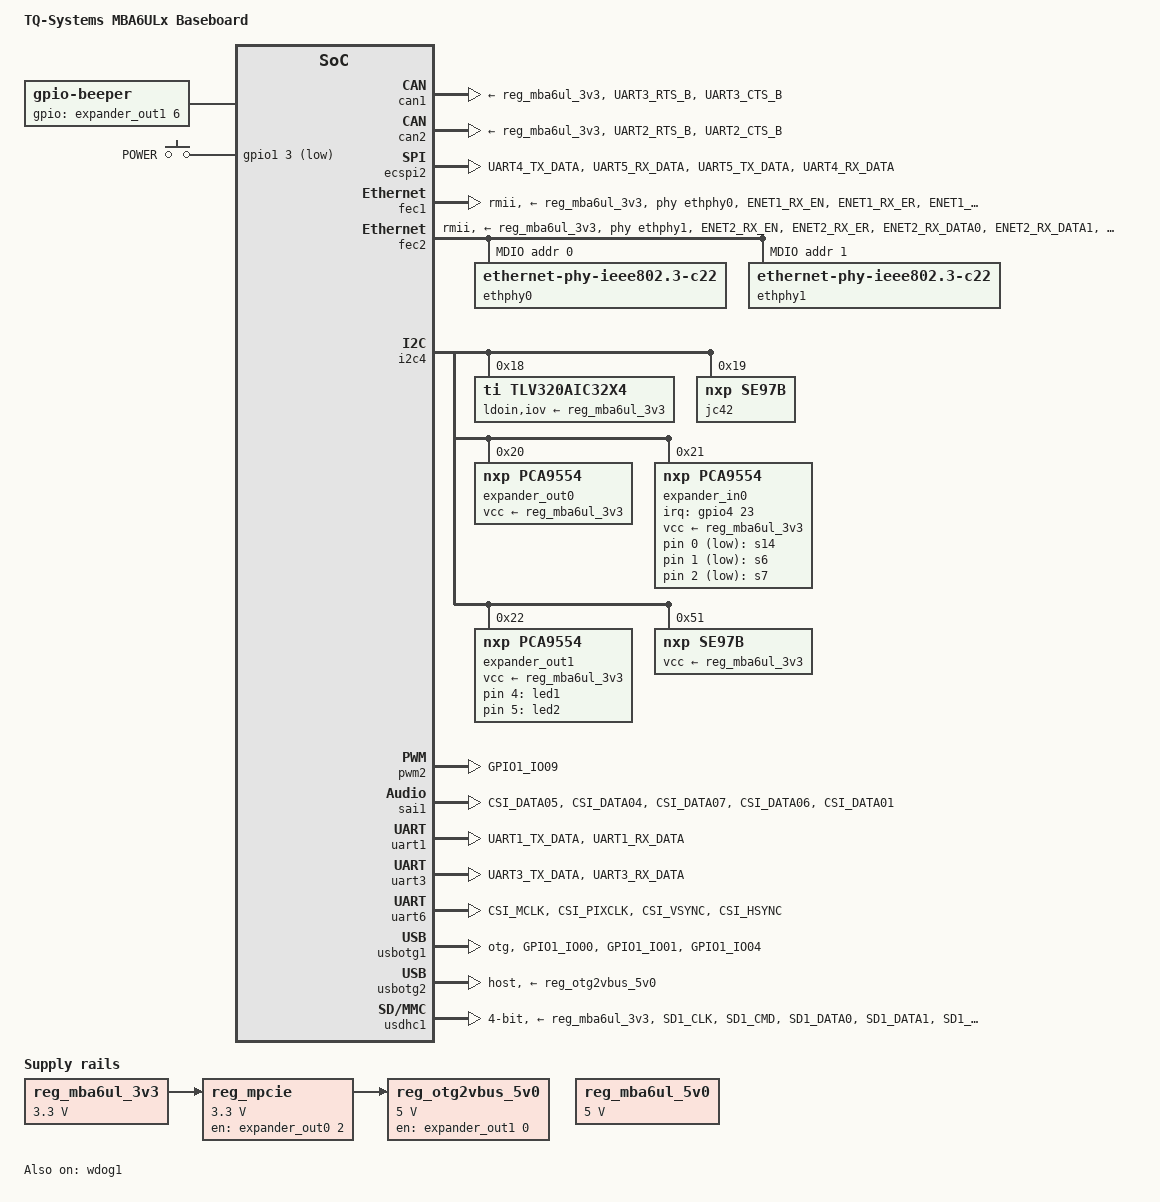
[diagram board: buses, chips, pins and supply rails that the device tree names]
// SPDX-License-Identifier: (GPL-2.0-or-later OR MIT)
/*
 * Copyright 2018-2022 TQ-Systems GmbH
 * Author: Markus Niebel <Markus.Niebel@tq-group.com>
 */

/ {
	model = "TQ-Systems MBA6ULx Baseboard";

	aliases {
		mmc0 = &usdhc2;
		mmc1 = &usdhc1;
		rtc0 = &rtc0;
		rtc1 = &snvs_rtc;
	};

	chosen {
		stdout-path = &uart1;
	};

	backlight: backlight {
		compatible = "pwm-backlight";
		power-supply = <&reg_mba6ul_3v3>;
		enable-gpios = <&expander_out0 4 GPIO_ACTIVE_HIGH>;
		status = "disabled";
	};

	beeper: beeper {
		compatible = "gpio-beeper";
		gpios = <&expander_out1 6 GPIO_ACTIVE_HIGH>;
	};

	gpio_buttons: gpio-keys {
		compatible = "gpio-keys";
		pinctrl-names = "default";
		pinctrl-0 = <&pinctrl_buttons>;

		button-1 {
			label = "s14";
			linux,code = <KEY_1>;
			gpios = <&expander_in0 0 GPIO_ACTIVE_LOW>;
			wakeup-source;
		};

		button-2 {
			label = "s6";
			linux,code = <KEY_2>;
			gpios = <&expander_in0 1 GPIO_ACTIVE_LOW>;
			wakeup-source;
		};

		button-3 {
			label = "s7";
			linux,code = <KEY_3>;
			gpios = <&expander_in0 2 GPIO_ACTIVE_LOW>;
			wakeup-source;
		};

		power-button {
			label = "POWER";
			linux,code = <KEY_POWER>;
			gpios = <&gpio1 3 GPIO_ACTIVE_LOW>;
			wakeup-source;
		};
	};

	gpio-leds {
		compatible = "gpio-leds";
		status = "okay";

		led1 {
			label = "led1";
			gpios = <&expander_out1 4 GPIO_ACTIVE_HIGH>;
			linux,default-trigger = "default-on";
		};

		led2 {
			label = "led2";
			gpios = <&expander_out1 5 GPIO_ACTIVE_HIGH>;
			linux,default-trigger = "heartbeat";
		};
	};

	reg_lcd_pwr: regulator-lcd-pwr {
		compatible = "regulator-fixed";
		regulator-name = "lcd-pwr";
		gpio = <&expander_out0 1 GPIO_ACTIVE_HIGH>;
		enable-active-high;
		status = "disabled";
	};

	reg_mba6ul_3v3: regulator-mba6ul-3v3 {
		compatible = "regulator-fixed";
		regulator-name = "supply-mba6ul-3v3";
		regulator-min-microvolt = <3300000>;
		regulator-max-microvolt = <3300000>;
		regulator-always-on;
	};

	reg_mba6ul_5v0: regulator-mba6ul-5v0 {
		compatible = "regulator-fixed";
		regulator-name = "supply-mba6ul-5v0";
		regulator-min-microvolt = <5000000>;
		regulator-max-microvolt = <5000000>;
		regulator-always-on;
	};

	reg_mpcie: regulator-mpcie-3v3 {
		compatible = "regulator-fixed";
		regulator-name = "mpcie-3v3";
		regulator-min-microvolt = <3300000>;
		regulator-max-microvolt = <3300000>;
		gpio = <&expander_out0 2 GPIO_ACTIVE_HIGH>;
		enable-active-high;
		regulator-always-on;
		startup-delay-us = <500000>;
		vin-supply = <&reg_mba6ul_3v3>;
	};

	reg_otg2vbus_5v0: regulator-otg2-vbus-5v0 {
		compatible = "regulator-fixed";
		gpio = <&expander_out1 0 GPIO_ACTIVE_HIGH>;
		enable-active-high;
		regulator-name = "otg2-vbus-supply-5v0";
		regulator-min-microvolt = <5000000>;
		regulator-max-microvolt = <5000000>;
		vin-supply = <&reg_mpcie>;
	};

	reserved-memory {
		#address-cells = <1>;
		#size-cells = <1>;
		ranges;

		linux,cma {
			compatible = "shared-dma-pool";
			reusable;
			size = <0x6000000>;
			linux,cma-default;
		};
	};

	sound {
		compatible = "fsl,imx-audio-tlv320aic32x4";
		model = "imx-audio-tlv320aic32x4";
		ssi-controller = <&sai1>;
		audio-codec = <&tlv320aic32x4>;
		audio-asrc = <&asrc>;
	};
};

&can1 {
	pinctrl-names = "default";
	pinctrl-0 = <&pinctrl_flexcan1>;
	xceiver-supply = <&reg_mba6ul_3v3>;
	status = "okay";
};

&can2 {
	pinctrl-names = "default";
	pinctrl-0 = <&pinctrl_flexcan2>;
	xceiver-supply = <&reg_mba6ul_3v3>;
	status = "okay";
};

&clks {
	assigned-clocks = <&clks IMX6UL_CLK_PLL4_AUDIO_DIV>;
	assigned-clock-rates = <768000000>;
};

&ecspi2 {
	pinctrl-names = "default";
	pinctrl-0 = <&pinctrl_ecspi2>;
	num-cs = <1>;
	status = "okay";
};

&fec1 {
	pinctrl-names = "default";
	pinctrl-0 = <&pinctrl_enet1>;
	phy-mode = "rmii";
	phy-handle = <&ethphy0>;
	phy-supply = <&reg_mba6ul_3v3>;
	phy-reset-gpios = <&expander_out1 1 GPIO_ACTIVE_LOW>;
	phy-reset-duration = <25>;
	phy-reset-post-delay = <1>;
	status = "okay";
};

&fec2 {
	pinctrl-names = "default";
	pinctrl-0 = <&pinctrl_enet2>, <&pinctrl_enet2_mdc>;
	phy-mode = "rmii";
	phy-handle = <&ethphy1>;
	phy-supply = <&reg_mba6ul_3v3>;
	phy-reset-gpios = <&expander_out1 2 GPIO_ACTIVE_LOW>;
	phy-reset-duration = <25>;
	phy-reset-post-delay = <1>;
	status = "okay";

	mdio {
		#address-cells = <1>;
		#size-cells = <0>;

		ethphy0: ethernet-phy@0 {
			compatible = "ethernet-phy-ieee802.3-c22";
			clocks = <&clks IMX6UL_CLK_ENET_REF>;
			reg = <0>;
			max-speed = <100>;
		};

		ethphy1: ethernet-phy@1 {
			compatible = "ethernet-phy-ieee802.3-c22";
			clocks = <&clks IMX6UL_CLK_ENET2_REF_125M>;
			reg = <1>;
			max-speed = <100>;
		};
	};
};

&i2c4 {
	tlv320aic32x4: audio-codec@18 {
		compatible = "ti,tlv320aic32x4";
		reg = <0x18>;
		clocks = <&clks IMX6UL_CLK_SAI1>;
		clock-names = "mclk";
		ldoin-supply = <&reg_mba6ul_3v3>;
		iov-supply = <&reg_mba6ul_3v3>;
	};

	jc42: temperature-sensor@19 {
		compatible = "nxp,se97b", "jedec,jc-42.4-temp";
		reg = <0x19>;
	};

	expander_out0: gpio-expander@20 {
		compatible = "nxp,pca9554";
		reg = <0x20>;
		gpio-controller;
		#gpio-cells = <2>;
		vcc-supply = <&reg_mba6ul_3v3>;
	};

	expander_in0: gpio-expander@21 {
		compatible = "nxp,pca9554";
		reg = <0x21>;
		pinctrl-names = "default";
		pinctrl-0 = <&pinctrl_expander_in0>;
		interrupt-parent = <&gpio4>;
		interrupts = <23 IRQ_TYPE_LEVEL_LOW>;
		interrupt-controller;
		#interrupt-cells = <2>;
		gpio-controller;
		#gpio-cells = <2>;
		vcc-supply = <&reg_mba6ul_3v3>;

		enet1_int-hog {
			gpio-hog;
			gpios = <6 0>;
			input;
		};

		enet2_int-hog {
			gpio-hog;
			gpios = <7 0>;
			input;
		};
	};

	expander_out1: gpio-expander@22 {
		compatible = "nxp,pca9554";
		reg = <0x22>;
		gpio-controller;
		#gpio-cells = <2>;
		vcc-supply = <&reg_mba6ul_3v3>;
	};

	analog_touch: touchscreen@41 {
		compatible = "st,stmpe811";
		reg = <0x41>;
		interrupts = <21 IRQ_TYPE_EDGE_FALLING>;
		interrupt-parent = <&gpio4>;
		status = "disabled";

		touchscreen {
			compatible = "st,stmpe-ts";
			st,adc-freq = <1>;      /* 3.25 MHz ADC clock speed */
			st,ave-ctrl = <3>;      /* 8 sample average control */
			st,fraction-z = <7>;    /* 7 length fractional part in z */
			/*
			 * 50 mA typical 80 mA max touchscreen drivers
			 * current limit value
			 */
			st,i-drive = <1>;
			st,mod-12b = <1>;       /* 12-bit ADC */
			st,ref-sel = <0>;       /* internal ADC reference */
			st,sample-time = <4>;   /* ADC converstion time: 80 clocks */
			st,settling = <3>;      /* 1 ms panel driver settling time */
			st,touch-det-delay = <5>; /* 5 ms touch detect interrupt delay */
		};
	};

	/* NXP SE97BTP with temperature sensor + eeprom */
	se97b: eeprom@51 {
		compatible = "nxp,se97b", "atmel,24c02";
		reg = <0x51>;
		pagesize = <16>;
		vcc-supply = <&reg_mba6ul_3v3>;
	};
};

&pwm2 {
	pinctrl-names = "default";
	pinctrl-0 = <&pinctrl_pwm2>;
	status = "okay";
};

&sai1 {
	pinctrl-names = "default";
	pinctrl-0 = <&pinctrl_sai1>;
	assigned-clocks = <&clks IMX6UL_CLK_SAI1_SEL>,
			  <&clks IMX6UL_CLK_SAI1>;
	assigned-clock-parents = <&clks IMX6UL_CLK_PLL4_AUDIO_DIV>;
	assigned-clock-rates = <0>, <24000000>;
	fsl,sai-mclk-direction-output;
	status = "okay";
};

&uart1 {
	pinctrl-names = "default";
	pinctrl-0 = <&pinctrl_uart1>;
	status = "okay";
};

&uart3 {
	pinctrl-names = "default";
	pinctrl-0 = <&pinctrl_uart3>;
	status = "okay";
};

&uart6 {
	pinctrl-names = "default";
	pinctrl-0 = <&pinctrl_uart6>;
	/* for DTE mode, add below change */
	/* fsl,dte-mode; */
	/* pinctrl-0 = <&pinctrl_uart6dte>; */
	uart-has-rtscts;
	linux,rs485-enabled-at-boot-time;
	rs485-rts-active-low;
	rs485-rx-during-tx;
	status = "okay";
};

/* otg-port */
&usbotg1 {
	pinctrl-names = "default";
	pinctrl-0 = <&pinctrl_usb_otg1>;
	power-active-high;
	over-current-active-low;
	/* we implement only dual role but not a fully featured OTG */
	hnp-disable;
	srp-disable;
	adp-disable;
	dr_mode = "otg";
	status = "okay";
};

/* 7-port usb hub */
/* id, pwr, oc pins not connected */
&usbotg2 {
	disable-over-current;
	vbus-supply = <&reg_otg2vbus_5v0>;
	dr_mode = "host";
	status = "okay";
};

&usdhc1 {
	pinctrl-names = "default";
	pinctrl-0 = <&pinctrl_usdhc1>;
	cd-gpios = <&gpio1 19 GPIO_ACTIVE_LOW>;
	wp-gpios = <&gpio1 18 GPIO_ACTIVE_HIGH>;
	bus-width = <4>;
	vmmc-supply = <&reg_mba6ul_3v3>;
	vqmmc-supply = <&reg_vccsd>;
	no-1-8-v;
	no-mmc;
	no-sdio;
	status = "okay";
};

&wdog1 {
	pinctrl-names = "default";
	pinctrl-0 = <&pinctrl_wdog1>;
	fsl,ext-reset-output;
	status = "okay";
};

&iomuxc {
	pinctrl_buttons: buttonsgrp {
		fsl,pins = <
			MX6UL_PAD_GPIO1_IO03__GPIO1_IO03	0x100b0
		>;
	};

	pinctrl_ecspi2: ecspi2grp {
		fsl,pins = <
			MX6UL_PAD_UART4_TX_DATA__ECSPI2_SCLK	0x1b020
			MX6UL_PAD_UART5_RX_DATA__ECSPI2_MISO	0x1b020
			MX6UL_PAD_UART5_TX_DATA__ECSPI2_MOSI	0x1b020
			MX6UL_PAD_UART4_RX_DATA__ECSPI2_SS0	0x1b020
		>;
	};

	pinctrl_enet1: enet1grp {
		fsl,pins = <
			MX6UL_PAD_ENET1_RX_EN__ENET1_RX_EN	0x1b0b0
			MX6UL_PAD_ENET1_RX_ER__ENET1_RX_ER	0x1b0b0
			MX6UL_PAD_ENET1_RX_DATA0__ENET1_RDATA00	0x1b0b0
			MX6UL_PAD_ENET1_RX_DATA1__ENET1_RDATA01	0x1b0b0
			MX6UL_PAD_ENET1_TX_DATA0__ENET1_TDATA00	0x1b0b0
			MX6UL_PAD_ENET1_TX_DATA1__ENET1_TDATA01	0x1b0b0
			MX6UL_PAD_ENET1_TX_EN__ENET1_TX_EN	0x1b0b0
			MX6UL_PAD_ENET1_TX_CLK__ENET1_REF_CLK1	0x4001b0a8
		>;
	};

	pinctrl_enet2: enet2grp {
		fsl,pins = <
			MX6UL_PAD_ENET2_RX_EN__ENET2_RX_EN	0x1b0b0
			MX6UL_PAD_ENET2_RX_ER__ENET2_RX_ER	0x1b0b0
			MX6UL_PAD_ENET2_RX_DATA0__ENET2_RDATA00	0x1b0b0
			MX6UL_PAD_ENET2_RX_DATA1__ENET2_RDATA01	0x1b0b0
			MX6UL_PAD_ENET2_TX_DATA0__ENET2_TDATA00	0x1b0a0
			MX6UL_PAD_ENET2_TX_DATA1__ENET2_TDATA01	0x1b0a0
			MX6UL_PAD_ENET2_TX_EN__ENET2_TX_EN	0x1b0b0
			MX6UL_PAD_ENET2_TX_CLK__ENET2_REF_CLK2	0x4001b0a8
		>;
	};

	pinctrl_enet2_mdc: enet2mdcgrp {
		fsl,pins = <
			/* mdio */
			MX6UL_PAD_GPIO1_IO07__ENET2_MDC		0x1b0b0
			MX6UL_PAD_GPIO1_IO06__ENET2_MDIO	0x1b0b0
		>;
	};

	pinctrl_expander_in0: expanderin0grp {
		fsl,pins = <
			MX6UL_PAD_CSI_DATA02__GPIO4_IO23	0x1b0b1
		>;
	};

	pinctrl_flexcan1: flexcan1grp {
		fsl,pins = <
			MX6UL_PAD_UART3_RTS_B__FLEXCAN1_RX	0x1b020
			MX6UL_PAD_UART3_CTS_B__FLEXCAN1_TX	0x1b020
		>;
	};

	pinctrl_flexcan2: flexcan2grp {
		fsl,pins = <
			MX6UL_PAD_UART2_RTS_B__FLEXCAN2_RX	0x1b020
			MX6UL_PAD_UART2_CTS_B__FLEXCAN2_TX	0x1b020
		>;
	};

	pinctrl_pwm2: pwm2grp {
		fsl,pins = <
			/* 100 k PD, DSE 120 OHM, SPEED LO */
			MX6UL_PAD_GPIO1_IO09__PWM2_OUT		0x00003050
		>;
	};

	pinctrl_sai1: sai1grp {
		fsl,pins = <
			MX6UL_PAD_CSI_DATA05__SAI1_TX_BCLK	0x1b0b1
			MX6UL_PAD_CSI_DATA04__SAI1_TX_SYNC	0x1b0b1
			MX6UL_PAD_CSI_DATA07__SAI1_TX_DATA	0x1f0b8
			MX6UL_PAD_CSI_DATA06__SAI1_RX_DATA	0x110b0
			MX6UL_PAD_CSI_DATA01__SAI1_MCLK		0x1b0b1
		>;
	};

	pinctrl_uart1: uart1grp {
		fsl,pins = <
			MX6UL_PAD_UART1_TX_DATA__UART1_DCE_TX	0x1b0b1
			MX6UL_PAD_UART1_RX_DATA__UART1_DCE_RX	0x1b0b1
		>;
	};

	pinctrl_uart3: uart3grp {
		fsl,pins = <
			MX6UL_PAD_UART3_TX_DATA__UART3_DCE_TX	0x1b0b1
			MX6UL_PAD_UART3_RX_DATA__UART3_DCE_RX	0x1b0b1
		>;
	};

	pinctrl_uart6: uart6grp {
		fsl,pins = <
			MX6UL_PAD_CSI_MCLK__UART6_DCE_TX	0x1b0b1
			MX6UL_PAD_CSI_PIXCLK__UART6_DCE_RX	0x1b0b1
			MX6UL_PAD_CSI_VSYNC__UART6_DCE_RTS	0x1b0b1
			MX6UL_PAD_CSI_HSYNC__UART6_DCE_CTS	0x1b0b1
		>;
	};

	pinctrl_uart6dte: uart6dtegrp {
		fsl,pins = <
			MX6UL_PAD_CSI_PIXCLK__UART6_DTE_TX	0x1b0b1
			MX6UL_PAD_CSI_MCLK__UART6_DTE_RX	0x1b0b1
			MX6UL_PAD_CSI_HSYNC__UART6_DTE_RTS	0x1b0b1
			MX6UL_PAD_CSI_VSYNC__UART6_DTE_CTS	0x1b0b1
		>;
	};

	pinctrl_usb_otg1: usbotg1grp {
		fsl,pins = <
			MX6UL_PAD_GPIO1_IO00__ANATOP_OTG1_ID	0x00017059
			MX6UL_PAD_GPIO1_IO01__USB_OTG1_OC	0x0001b0b0
			MX6UL_PAD_GPIO1_IO04__USB_OTG1_PWR	0x0001b099
		>;
	};

	pinctrl_usdhc1: usdhc1grp {
		fsl,pins = <
			MX6UL_PAD_SD1_CLK__USDHC1_CLK		0x00017069
			MX6UL_PAD_SD1_CMD__USDHC1_CMD		0x00017059
			MX6UL_PAD_SD1_DATA0__USDHC1_DATA0	0x00017059
			MX6UL_PAD_SD1_DATA1__USDHC1_DATA1	0x00017059
			MX6UL_PAD_SD1_DATA2__USDHC1_DATA2	0x00017059
			MX6UL_PAD_SD1_DATA3__USDHC1_DATA3	0x00017059
			/* WP */
			MX6UL_PAD_UART1_CTS_B__GPIO1_IO18	0x0001b099
			/* CD */
			MX6UL_PAD_UART1_RTS_B__GPIO1_IO19	0x0001b099
		>;
	};

	pinctrl_usdhc1_100mhz: usdhc1-100mhz-grp {
		fsl,pins = <
			MX6UL_PAD_SD1_CLK__USDHC1_CLK		0x00017069
			MX6UL_PAD_SD1_CMD__USDHC1_CMD		0x000170b9
			MX6UL_PAD_SD1_DATA0__USDHC1_DATA0	0x000170b9
			MX6UL_PAD_SD1_DATA1__USDHC1_DATA1	0x000170b9
			MX6UL_PAD_SD1_DATA2__USDHC1_DATA2	0x000170b9
			MX6UL_PAD_SD1_DATA3__USDHC1_DATA3	0x000170b9
			/* WP */
			MX6UL_PAD_UART1_CTS_B__GPIO1_IO18	0x0001b099
			/* CD */
			MX6UL_PAD_UART1_RTS_B__GPIO1_IO19	0x0001b099
		>;
	};

	pinctrl_usdhc1_200mhz: usdhc1-200mhz-grp {
		fsl,pins = <
			MX6UL_PAD_SD1_CLK__USDHC1_CLK		0x00017069
			MX6UL_PAD_SD1_CMD__USDHC1_CMD		0x000170f9
			MX6UL_PAD_SD1_DATA0__USDHC1_DATA0	0x000170f9
			MX6UL_PAD_SD1_DATA1__USDHC1_DATA1	0x000170f9
			MX6UL_PAD_SD1_DATA2__USDHC1_DATA2	0x000170f9
			MX6UL_PAD_SD1_DATA3__USDHC1_DATA3	0x000170f9
			/* WP */
			MX6UL_PAD_UART1_CTS_B__GPIO1_IO18	0x0001b099
			/* CD */
			MX6UL_PAD_UART1_RTS_B__GPIO1_IO19	0x0001b099
		>;
	};

	pinctrl_wdog1: wdog1grp {
		fsl,pins = <
			MX6UL_PAD_GPIO1_IO08__WDOG1_WDOG_B	0x0001b099
		>;
	};
};
